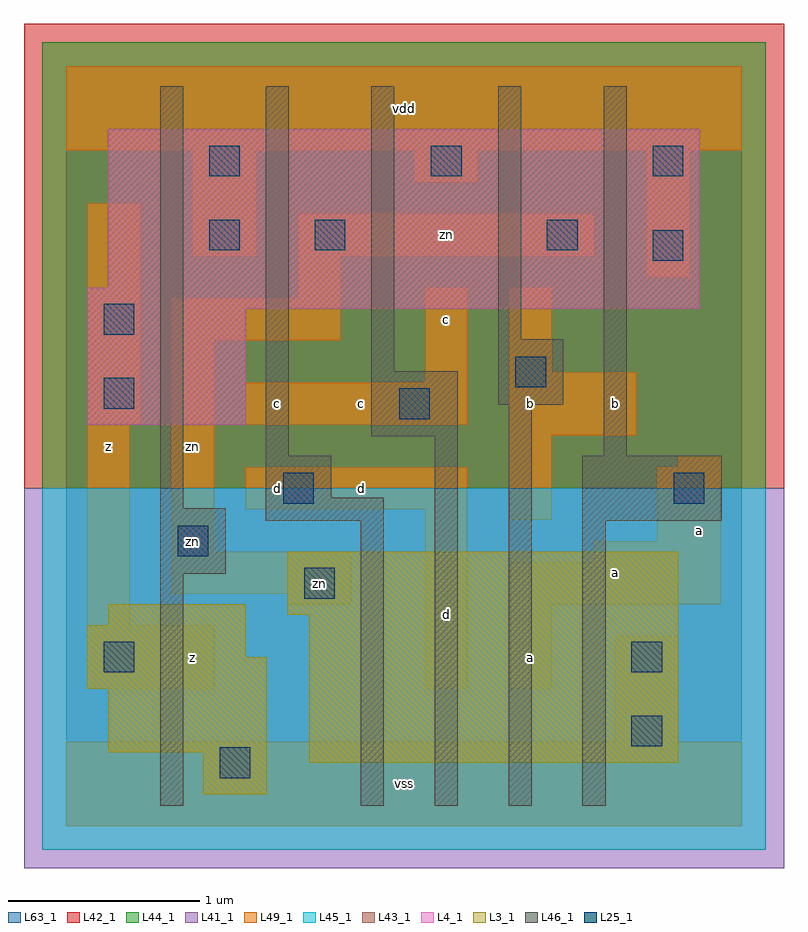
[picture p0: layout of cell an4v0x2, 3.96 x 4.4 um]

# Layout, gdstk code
import gdstk
lib = gdstk.Library(unit=1e-6, precision=1e-09)
def R(c, l, rs):  # rectangles x0, y0, x1, y1
    for r in rs: c.add(gdstk.rectangle(r[:2], r[2:], *l))
def A(c, l, x, y, w, h, nx, ny, dx, dy):  # array of equal rectangles
    R(c, l, [(x+i*dx, y+j*dy, x+i*dx+w, y+j*dy+h) for i in range(nx) for j in range(ny)])
L3_1 = (3, 1)
L4_1 = (4, 1)
L25_1 = (25, 1)
L41_1 = (41, 1)
L42_1 = (42, 1)
L43_1 = (43, 1)
L44_1 = (44, 1)
L45_1 = (45, 1)
L46_1 = (46, 1)
L49_1 = (49, 1)
L63_1 = (63, 1)

an4v0x2 = lib.new_cell('an4v0x2')
R(an4v0x2, L3_1, [(0.715,0.165,1.045,0.385), (1.265,0.33,3.19,1.1), (0.22,0.385,1.045,0.715), (0.11,0.715,1.045,0.88), (0.11,0.88,0.935,1.045), (0.22,1.045,0.935,1.155), (1.155,1.1,3.19,1.43)])
R(an4v0x2, L4_1, [(0.11,2.09,0.935,2.695), (0.11,2.695,3.3,2.805), (0.22,2.805,3.3,3.63)])
A(an4v0x2, L25_1, 0.745, 3.385, 0.16, 0.16, 3, 1, 1.155, 0)
R(an4v0x2, L25_1, [(0.8,0.25,0.96,0.41), (2.945,0.415,3.105,0.575), (0.195,0.8,0.355,0.96), (2.945,0.8,3.105,0.96), (1.24,1.185,1.4,1.345), (0.58,1.405,0.74,1.565), (1.13,1.68,1.29,1.84), (3.165,1.68,3.325,1.84), (1.735,2.12,1.895,2.28), (0.195,2.175,0.355,2.335), (2.34,2.285,2.5,2.445), (0.195,2.56,0.355,2.72), (3.055,2.945,3.215,3.105), (0.745,3,0.905,3.16), (1.295,3,1.455,3.16), (2.505,3,2.665,3.16)])
R(an4v0x2, L41_1, [(-0.22,-0.22,3.74,1.76)])
R(an4v0x2, L42_1, [(-0.22,1.76,3.74,4.18)])
R(an4v0x2, L43_1, [(0.715,0.165,1.045,0.385), (1.265,0.33,3.19,1.1), (0.22,0.385,1.045,0.715), (0.11,0.715,1.045,0.88), (0.11,0.88,0.935,1.045), (0.22,1.045,0.935,1.155), (1.155,1.1,3.19,1.43), (0.11,2.09,0.935,2.695), (0.11,2.695,3.3,2.805), (0.22,2.805,3.3,3.63)])
R(an4v0x2, L44_1, [(-0.125,1.76,3.645,4.085)])
R(an4v0x2, L45_1, [(-0.125,-0.125,3.645,1.76)])
R(an4v0x2, L46_1, [(0.49,0.105,0.61,1.315), (1.535,0.105,1.655,1.59), (1.92,0.105,2.04,2.03), (2.305,0.105,2.425,2.195), (2.69,0.105,2.81,1.59), (0.49,1.315,0.83,1.655), (1.04,1.59,1.655,1.71), (2.69,1.59,3.415,1.93), (0.49,1.655,0.61,3.855), (1.04,1.71,1.38,1.93), (1.04,1.93,1.16,3.855), (2.8,1.93,2.92,3.855), (1.59,2.03,2.04,2.37), (2.25,2.195,2.59,2.535), (1.59,2.37,1.71,3.855), (2.25,2.535,2.37,3.855)])
R(an4v0x2, L49_1, [(0,0,3.52,0.44), (2.86,0.44,3.19,0.99), (0.11,0.715,0.77,1.045), (1.87,0.715,2.09,1.65), (2.31,0.715,2.53,1.155), (0.11,1.045,0.33,2.09), (1.155,1.155,1.485,1.21), (2.31,1.155,3.41,1.375), (0.55,1.21,1.485,1.43), (2.75,1.375,3.41,1.485), (0.55,1.43,0.77,2.53), (3.08,1.485,3.41,1.87), (2.31,1.595,2.53,2.035), (0.935,1.65,2.09,1.87), (3.19,1.87,3.41,1.925), (2.31,2.035,2.97,2.365), (0.11,2.09,0.385,3.245), (0.935,2.09,2.09,2.31), (1.87,2.31,2.09,2.805), (2.31,2.365,2.53,2.805), (0.55,2.53,1.43,2.75), (1.21,2.75,1.43,2.97), (3.025,2.86,3.245,3.52), (0.66,2.97,0.99,3.52), (1.21,2.97,2.75,3.19), (1.815,3.355,2.145,3.52), (0,3.52,3.52,3.96)])
R(an4v0x2, L63_1, [(0,0,3.52,3.96)])
an4v0x2.add(gdstk.Label('zn', (0.66,1.485), layer=49, texttype=1))
an4v0x2.add(gdstk.Label('z', (0.66,0.88), layer=49, texttype=1))
an4v0x2.add(gdstk.Label('z', (0.22,1.98), layer=49, texttype=1))
an4v0x2.add(gdstk.Label('zn', (0.66,1.98), layer=49, texttype=1))
an4v0x2.add(gdstk.Label('zn', (1.32,1.265), layer=49, texttype=1))
an4v0x2.add(gdstk.Label('d', (1.1,1.76), layer=49, texttype=1))
an4v0x2.add(gdstk.Label('d', (1.54,1.76), layer=49, texttype=1))
an4v0x2.add(gdstk.Label('c', (1.1,2.2), layer=49, texttype=1))
an4v0x2.add(gdstk.Label('c', (1.54,2.2), layer=49, texttype=1))
an4v0x2.add(gdstk.Label('vss', (1.76,0.22), layer=49, texttype=1))
an4v0x2.add(gdstk.Label('a', (2.42,0.88), layer=49, texttype=1))
an4v0x2.add(gdstk.Label('d', (1.98,1.1), layer=49, texttype=1))
an4v0x2.add(gdstk.Label('b', (2.42,2.2), layer=49, texttype=1))
an4v0x2.add(gdstk.Label('c', (1.98,2.64), layer=49, texttype=1))
an4v0x2.add(gdstk.Label('vdd', (1.76,3.74), layer=49, texttype=1))
an4v0x2.add(gdstk.Label('a', (2.86,1.32), layer=49, texttype=1))
an4v0x2.add(gdstk.Label('a', (3.3,1.54), layer=49, texttype=1))
an4v0x2.add(gdstk.Label('b', (2.86,2.2), layer=49, texttype=1))
an4v0x2.add(gdstk.Label('zn', (1.98,3.08), layer=49, texttype=1))

lib.write_gds('an4v0x2.gds')
